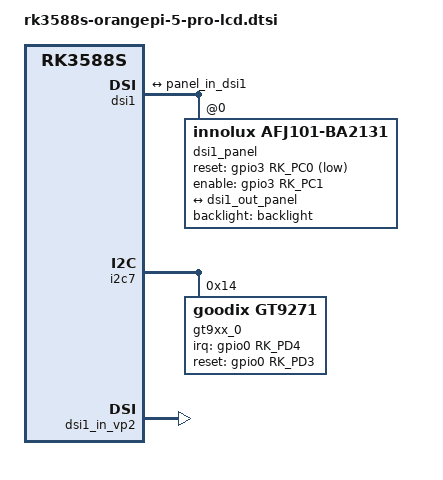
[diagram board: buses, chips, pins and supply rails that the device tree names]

&dsi1 {
	status = "okay";
	pinctrl-names = "default";
	pinctrl-0 = <&mipi_te1>;

	dsi1_panel: panel@0 {
		status = "okay";
		compatible = "innolux,afj101-ba2131";
		reg = <0>;
		backlight = <&backlight>;
		reset-gpios = <&gpio3 RK_PC0 GPIO_ACTIVE_LOW>;
		enable-gpios = <&gpio3 RK_PC1 GPIO_ACTIVE_HIGH>;
		pinctrl-names = "default";
		pinctrl-0 = <&lcd_rst_gpio>;

		ports {
			#address-cells = <1>;
			#size-cells = <0>;

			port@0 {
				reg = <0>;
				panel_in_dsi1: endpoint {
					remote-endpoint = <&dsi1_out_panel>;
				};
			};
		};
	};

	ports {
		#address-cells = <1>;
		#size-cells = <0>;

		port@1 {
			reg = <1>;
			dsi1_out_panel: endpoint {
				remote-endpoint = <&panel_in_dsi1>;
			};
		};
	};
};

&i2c7 {
	status = "okay";

	gt9xx_0: touchscreen@14 {
		compatible = "goodix,gt9271";
		reg = <0x14>;
		interrupt-parent = <&gpio0>;
		interrupts = <RK_PD4 IRQ_TYPE_LEVEL_LOW>;
		irq-gpios = <&gpio0 RK_PD4 IRQ_TYPE_LEVEL_LOW>;
		reset-gpios = <&gpio0 RK_PD3 GPIO_ACTIVE_HIGH>;
		touchscreen-inverted-x;
		//touchscreen-inverted-y;
		touchscreen-swapped-x-y;
		touchscreen-size-x = <1280>;
		touchscreen-size-y = <800>;
		status = "okay";
	};
};

&dsi1_in_vp2 {
        status = "okay";
};
